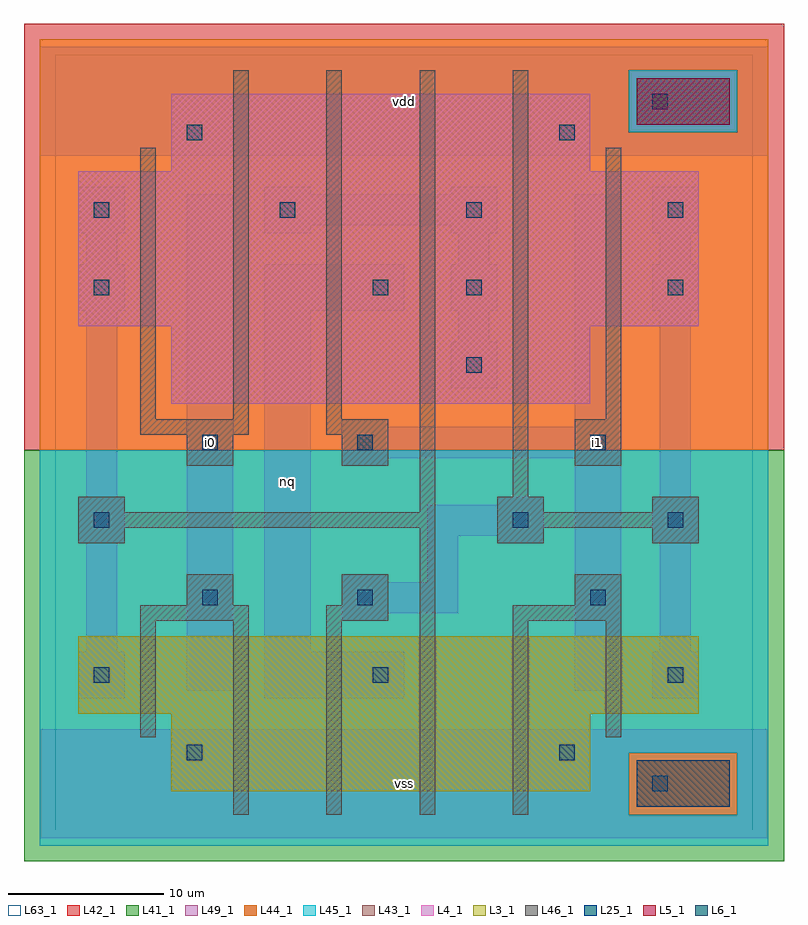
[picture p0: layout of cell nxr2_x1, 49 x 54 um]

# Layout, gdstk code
import gdstk
lib = gdstk.Library(unit=1e-6, precision=1e-09)
def R(c, l, rs):  # rectangles x0, y0, x1, y1
    for r in rs: c.add(gdstk.rectangle(r[:2], r[2:], *l))
def A(c, l, x, y, w, h, nx, ny, dx, dy):  # array of equal rectangles
    R(c, l, [(x+i*dx, y+j*dy, x+i*dx+w, y+j*dy+h) for i in range(nx) for j in range(ny)])
L3_1 = (3, 1)
L4_1 = (4, 1)
L5_1 = (5, 1)
L6_1 = (6, 1)
L25_1 = (25, 1)
L41_1 = (41, 1)
L42_1 = (42, 1)
L43_1 = (43, 1)
L44_1 = (44, 1)
L45_1 = (45, 1)
L46_1 = (46, 1)
L49_1 = (49, 1)
L63_1 = (63, 1)

nxr2_x1 = lib.new_cell('nxr2_x1')
R(nxr2_x1, L3_1, [(7.5,2.5,34.5,7.5), (1.5,7.5,41.5,12.5)])
R(nxr2_x1, L4_1, [(7.5,27.5,34.5,32.5), (1.5,32.5,41.5,42.5), (7.5,42.5,34.5,47.5)])
R(nxr2_x1, L5_1, [(37.5,45.5,43.5,48.5)])
R(nxr2_x1, L6_1, [(37.5,1.5,43.5,4.5)])
A(nxr2_x1, L25_1, 2.5, 39.5, 1, 1, 3, 1, 12, 0)
R(nxr2_x1, L25_1, [(38.5,2.5,39.5,3.5), (8.5,4.5,9.5,5.5), (32.5,4.5,33.5,5.5), (2.5,9.5,3.5,10.5), (20.5,9.5,21.5,10.5), (39.5,9.5,40.5,10.5), (9.5,14.5,10.5,15.5), (19.5,14.5,20.5,15.5), (34.5,14.5,35.5,15.5), (2.5,19.5,3.5,20.5), (29.5,19.5,30.5,20.5), (39.5,19.5,40.5,20.5), (9.5,24.5,10.5,25.5), (19.5,24.5,20.5,25.5), (34.5,24.5,35.5,25.5), (26.5,29.5,27.5,30.5), (2.5,34.5,3.5,35.5), (20.5,34.5,21.5,35.5), (26.5,34.5,27.5,35.5), (39.5,34.5,40.5,35.5), (39.5,39.5,40.5,40.5), (8.5,44.5,9.5,45.5), (32.5,44.5,33.5,45.5), (38.5,46.5,39.5,47.5)])
R(nxr2_x1, L41_1, [(-2,-2,47,24.5)])
R(nxr2_x1, L42_1, [(-2,24.5,47,52)])
R(nxr2_x1, L43_1, [(37.5,1.5,43.5,4.5), (7.5,2.5,34.5,7.5), (1.5,7.5,41.5,12.5), (7.5,27.5,34.5,32.5), (1.5,32.5,41.5,42.5), (7.5,42.5,34.5,47.5), (37.5,45.5,43.5,48.5)])
R(nxr2_x1, L44_1, [(37,1,44,5), (-1,24.5,46,45), (-1,45,37,49), (44,45,46,49), (-1,49,46,51)])
R(nxr2_x1, L45_1, [(-1,-1,46,1), (-1,1,37,5), (44,1,46,5), (-1,5,46,24.5), (37,45,44,49)])
R(nxr2_x1, L46_1, [(11.5,1,12.5,13.5), (17.5,1,18.5,13.5), (23.5,1,24.5,19.5), (29.5,1,30.5,13.5), (5.5,6,6.5,13.5), (35.5,6,36.5,13.5), (5.5,13.5,12.5,14.5), (17.5,13.5,21.5,14.5), (29.5,13.5,36.5,14.5), (8.5,14.5,11.5,16.5), (18.5,14.5,21.5,16.5), (33.5,14.5,36.5,16.5), (1.5,18.5,4.5,19.5), (28.5,18.5,31.5,19.5), (38.5,18.5,41.5,19.5), (1.5,19.5,24.5,20.5), (28.5,19.5,41.5,20.5), (1.5,20.5,4.5,21.5), (23.5,20.5,24.5,49), (28.5,20.5,31.5,21.5), (38.5,20.5,41.5,21.5), (29.5,21.5,30.5,49), (8.5,23.5,11.5,25.5), (18.5,23.5,21.5,25.5), (33.5,23.5,36.5,26.5), (5.5,25.5,12.5,26.5), (17.5,25.5,21.5,26.5), (5.5,26.5,6.5,44), (11.5,26.5,12.5,49), (17.5,26.5,18.5,49), (35.5,26.5,36.5,44)])
R(nxr2_x1, L49_1, [(-1,-0.5,46,6.5), (1.5,8.5,4.5,11.5), (13.5,8.5,22.5,11.5), (38.5,8.5,41.5,11.5), (8.5,9,11.5,41), (33.5,9,36.5,24), (2,11.5,4,18.5), (13.5,11.5,16.5,33.5), (39,11.5,41,18.5), (18.5,13.5,21.5,14), (18.5,14,26,16), (18.5,16,21.5,16.5), (24,16,26,19), (1.5,18.5,4.5,21.5), (28.5,18.5,31.5,19), (38.5,18.5,41.5,21.5), (24,19,31.5,21), (28.5,21,31.5,21.5), (2,21.5,4,33.5), (39,21.5,41,33.5), (18.5,23.5,21.5,24), (18.5,24,36.5,26), (18.5,26,21.5,26.5), (33.5,26,36.5,41), (25.5,28.5,28.5,31.5), (26,31.5,28,33.5), (1.5,33.5,4.5,36.5), (13.5,33.5,22.5,36.5), (25.5,33.5,28.5,36.5), (38.5,33.5,41.5,36.5), (2,36.5,4,38.5), (26,36.5,28,38.5), (39,36.5,41,38.5), (1.5,38.5,4.5,41.5), (13.5,38.5,16.5,39), (25.5,38.5,28.5,39), (38.5,38.5,41.5,41.5), (13.5,39,28.5,41), (13.5,41,16.5,41.5), (25.5,41,28.5,41.5), (-1,43.5,46,50.5)])
R(nxr2_x1, L63_1, [(0,0,45,50)])
nxr2_x1.add(gdstk.Label('nq', (15,22.5), layer=49, texttype=1))
nxr2_x1.add(gdstk.Label('nq', (15,22.5), layer=49, texttype=1))
nxr2_x1.add(gdstk.Label('i0', (10,25), layer=49, texttype=1))
nxr2_x1.add(gdstk.Label('i0', (10,25), layer=49, texttype=1))
nxr2_x1.add(gdstk.Label('vss', (22.5,3), layer=49, texttype=1))
nxr2_x1.add(gdstk.Label('vss', (22.5,3), layer=49, texttype=1))
nxr2_x1.add(gdstk.Label('vdd', (22.5,47), layer=49, texttype=1))
nxr2_x1.add(gdstk.Label('vdd', (22.5,47), layer=49, texttype=1))
nxr2_x1.add(gdstk.Label('i1', (35,25), layer=49, texttype=1))
nxr2_x1.add(gdstk.Label('i1', (35,25), layer=49, texttype=1))

lib.write_gds('nxr2_x1.gds')
